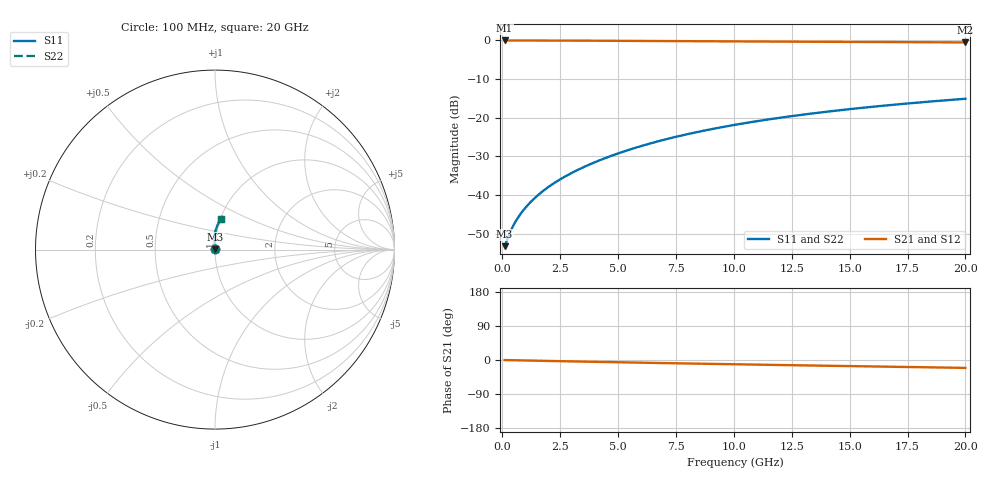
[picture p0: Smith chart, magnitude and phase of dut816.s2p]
! Touchstone file exported from HFSS 2024.1.0
!  File:  C:/UserFiles/LocalFiles/RDL_TSV_Batchsim/temp_RDL_bottom_816_1779862565.aedt
!  Generated:  02:18:32 PM May 27, 2026
!  Design:  RDL_bottom
!  Project:  temp_RDL_bottom_816_1779862565
!  Setup:  Setup1
!  Solution:  Sweep
! Variables:
!  dtsv = 10.80580581um
!  hbump = 3um
!  htsv = 71.27um
!  ldown = 299.16um
!  lrdl = 100um
!  p = 40
!  p1 = 45.75um
!  rhole = 1um
!  t = 450um
!  tdown = 2.26um
!  trdl = 3.915915916um
!  wdown = 28.78um
!  wrdl = 20um
# GHz S MA R 50.000000
! Terminal data exported
! Port[1] = RDL1_T1
! Port[2] = RDL1_T2
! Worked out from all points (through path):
!   200 points, 100 MHz to 20 GHz, reference 50 ohm
!   highest |S21| = -0.02 dB at 100 MHz (marker M1); lowest = -0.5 dB at 20 GHz (marker M2)
!   group delay of S21, straight-line fit = 2.85 ps
!   lowest |S11| = -53.2 dB at 100 MHz (marker M3), VSWR 1.00, Z = 50.2 + j0.0773 ohm
!   |S11| at or under -10 dB: start of sweep to end of sweep
!   |S22| runs from -53.2 to -15.1 dB; largest |S21 - S12| = 3.6e-15
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0.1  0.002187 20.6  0.9979 -0.1  0.9979 -0.1  0.002187 20.6
! Gamma 0 0 0 0
! Port Impedance 50 0 50 0
0.3  0.003109 44.4  0.9977 -0.4  0.9977 -0.4  0.00311 44.4
0.4  0.003634 50.7  0.9976 -0.5  0.9976 -0.5  0.003635 50.7
0.6  0.004691 59.3  0.9973 -0.8  0.9973 -0.8  0.004693 59.3
0.7  0.005226 62.5  0.9971 -0.9  0.9971 -0.9  0.005227 62.5
0.9  0.006315 67.6  0.9969 -1.1  0.9969 -1.1  0.006315 67.6
1.1  0.007432 71.5  0.9966 -1.4  0.9966 -1.4  0.007432 71.4
1.3  0.008577 74.5  0.9964 -1.6  0.9964 -1.6  0.008576 74.5
1.7  0.01094 79.2  0.9958 -2.1  0.9958 -2.1  0.01094 79.2
2.2  0.01404 83.3  0.9949 -2.7  0.9949 -2.7  0.01404 83.3
2.8  0.01798 86.8  0.9936 -3.5  0.9936 -3.5  0.01798 86.8
3.5  0.0229 89.6  0.9918 -4.3  0.9918 -4.3  0.0229 89.6
4.2  0.02817 91.5  0.9898 -5.1  0.9898 -5.1  0.02817 91.5
5  0.03458 92.7  0.9873 -6.0  0.9873 -6.0  0.03458 92.7
5.9  0.04223 93.4  0.9843 -7.0  0.9843 -7.0  0.04223 93.4
6.8  0.05025 93.5  0.9813 -8.0  0.9813 -8.0  0.05026 93.5
8.4  0.06517 92.7  0.9758 -9.6  0.9758 -9.6  0.06519 92.7
10.1  0.08156 91.0  0.9702 -11.4  0.9702 -11.4  0.08158 91.0
11.7  0.09717 89.2  0.9651 -12.9  0.9651 -12.9  0.09719 89.2
13.4  0.1137 87.0  0.96 -14.6  0.96 -14.6  0.1138 87.1
16.7  0.1454 82.8  0.9504 -17.7  0.9504 -17.7  0.1454 82.8
20  0.176 78.7  0.9412 -20.8  0.9412 -20.8  0.176 78.7
